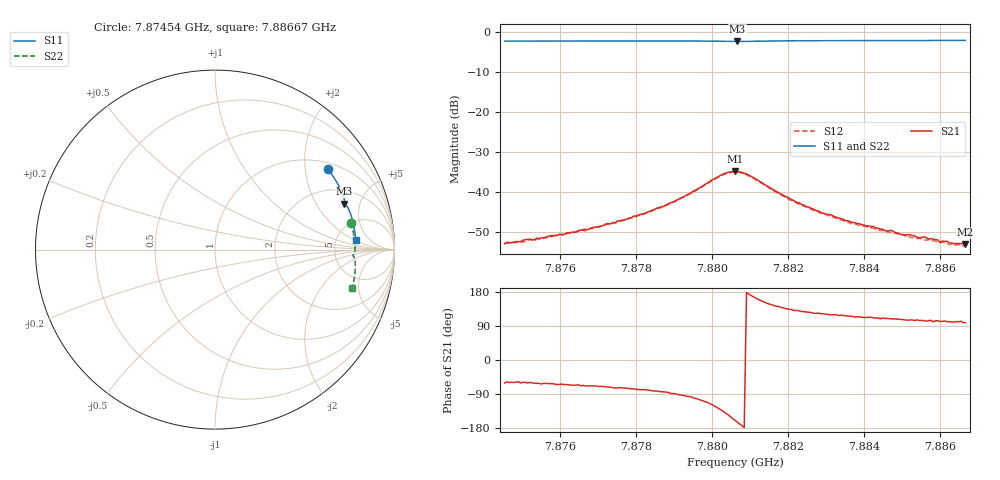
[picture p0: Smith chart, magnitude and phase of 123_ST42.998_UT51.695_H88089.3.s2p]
#  HZ  S  DB  R  50.00
! Rohde & Schwarz Vector Network Analyzer
! Rohde-Schwarz,ZNB20-2Port,1311601062101988,3.16
! Created: UTC 1/12/2023, 6:38:24 PM
! freq[Hz]  db:S11  ang:S11  db:S21  ang:S21  db:S12  ang:S12  db:S22  ang:S22
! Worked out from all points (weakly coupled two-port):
!   201 points, 7.87454 GHz to 7.88667 GHz, reference 50 ohm
!   highest |S21| = -34.77 dB at 7.88061 GHz (marker M1); lowest = -52.9 dB at 7.88667 GHz (marker M2)
!   lowest |S11| = -2.3 dB at 7.88067 GHz (marker M3), VSWR 7.47, Z = 145 + j178 ohm
!   |S11| at or under -10 dB: nowhere
!   |S22| runs from -2.3 to -2.0 dB; largest |S21 - S12| = 0.0012
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7.87454e9  -2.25 35.7  -52.81 -60.6  -52.79 -60.2  -2.25 11.2
7.875025e9  -2.24 34.3  -51.96 -59.0  -52.41 -62.4  -2.24 10.1
7.875207e9  -2.23 33.9  -51.74 -59.0  -51.71 -62.2  -2.23 9.6
7.875328e9  -2.23 33.5  -51.76 -61.6  -52.17 -63.1  -2.23 9.3
7.875389e9  -2.23 33.3  -51.43 -61.4  -51.56 -64.8  -2.23 9.2
7.876602e9  -2.21 30.0  -49.32 -67.0  -49.45 -70.6  -2.18 6.4
7.877451e9  -2.20 27.7  -47.60 -73.9  -47.63 -76.8  -2.17 4.4
7.878604e9  -2.19 24.5  -43.76 -83.1  -43.89 -87.1  -2.15 1.6
7.879392e9  -2.22 22.3  -40.45 -96.5  -40.49 -100.3  -2.16 -0.3
7.880241e9  -2.31 20.1  -35.67 -132.0  -35.83 -135.1  -2.26 -2.2
7.880605e9  -2.34 19.6  -34.77 -159.0  -34.96 -162.3  -2.29 -2.4
7.880666e9  -2.34 19.5  -34.78 -164.1  -34.98 -167.2  -2.29 -2.5
7.880969e9  -2.30 19.2  -35.67 173.9  -35.89 170.5  -2.25 -2.7
7.882243e9  -2.16 15.8  -42.60 130.9  -42.71 127.9  -2.10 -5.6
7.882667e9  -2.14 14.7  -44.17 123.7  -44.49 121.1  -2.08 -6.6
7.883517e9  -2.13 12.3  -47.09 116.6  -47.27 112.8  -2.05 -8.5
7.884669e9  -2.10 9.3  -49.60 109.2  -50.02 105.6  -2.03 -11.1
7.884972e9  -2.11 8.5  -50.52 106.9  -50.54 105.2  -2.02 -11.8
7.885943e9  -2.10 6.0  -51.87 103.5  -52.33 99.3  -2.01 -13.8
7.886003e9  -2.09 5.8  -52.48 101.9  -52.54 99.4  -2.01 -14.0
7.886185e9  -2.09 5.3  -52.20 101.2  -52.77 100.0  -2.01 -14.4
7.886671e9  -2.09 4.1  -52.92 98.6  -53.43 98.3  -2.00 -15.4
